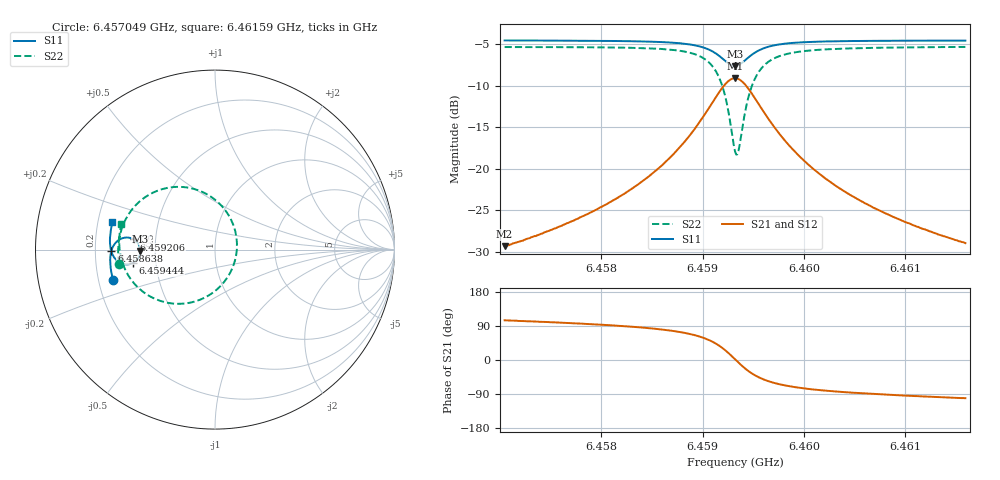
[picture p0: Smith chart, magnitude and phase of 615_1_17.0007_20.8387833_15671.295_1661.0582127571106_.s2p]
#  HZ  S  RI  R  50.00
! Rohde & Schwarz Vector Network Analyzer
! Rohde-Schwarz,ZNB20-2Port,1311601062101988,3.16
! Created: UTC 3/20/2024, 11:19:41 PM
! freq[Hz]  re:S11  im:S11  re:S21  im:S21  re:S12  im:S12  re:S22  im:S22
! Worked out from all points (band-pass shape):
!   401 points, 6.457049 GHz to 6.46159 GHz, reference 50 ohm
!   highest |S21| = -9.10 dB at 6.45932 GHz (marker M1); lowest = -29.3 dB at 6.457049 GHz (marker M2)
!   |S21| within 3 dB of the highest: 6.459093 GHz to 6.459547 GHz (453.9 kHz wide, 0.00703 % of centre)
!   lowest |S11| = -7.6 dB at 6.45932 GHz (marker M3), VSWR 2.42, Z = 20.6 - j0.385 ohm
!   |S11| at or under -10 dB: nowhere
!   |S22| runs from -18.3 to -5.3 dB; largest |S21 - S12| = 0.014
!   S11 on the Smith chart (normalised r, x): 6.457049 GHz: 0.26, -0.13; 6.458638 GHz: 0.27, -0.01; 6.459206 GHz: 0.38, +0.05; 6.459444 GHz: 0.37, -0.07; 6.46159 GHz: 0.26, +0.12
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6.4570486e9  -0.5683 -0.1668  -0.00872 0.0331  -0.00685 0.0329  -0.5349 -0.0781
6.4578094e9  -0.5816 -0.0998  -0.0053 0.0512  -0.00262 0.0505  -0.5388 0.012
6.4582181e9  -0.584 -0.0587  0.000776 0.07  0.00395 0.0688  -0.5304 0.0773
6.4585701e9  -0.5798 -0.0163  0.0152 0.1  0.0192 0.0971  -0.5032 0.1574
6.4586383e9  -0.5774 -0.00678  0.0207 0.1085  0.0247 0.1052  -0.4931 0.1775
6.4588426e9  -0.5634 0.0254  0.0501 0.1417  0.0543 0.1366  -0.4375 0.2517
6.4589789e9  -0.5414 0.0498  0.0937 0.1703  0.097 0.1634  -0.357 0.3116
6.4591151e9  -0.497 0.0672  0.1822 0.1866  0.183 0.1791  -0.1952 0.3495
6.459206e9  -0.452 0.0564  0.273 0.1545  0.2733 0.1487  -0.0265 0.2973
6.4592741e9  -0.4226 0.0239  0.3342 0.0814  0.3364 0.076  0.0901 0.1651
6.4593195e9  -0.4156 -0.00771  0.3506 0.0125  0.3544 0.00545  0.1223 0.0357
6.4593536e9  -0.4196 -0.0318  0.3445 -0.0409  0.3486 -0.0502  0.1101 -0.0655
6.459399e9  -0.4356 -0.0583  0.3151 -0.1016  0.3175 -0.1138  0.0508 -0.1804
6.4594444e9  -0.458 -0.0748  0.2722 -0.1431  0.2714 -0.1566  -0.0365 -0.2562
6.4595353e9  -0.502 -0.0819  0.1859 -0.1742  0.1796 -0.186  -0.2088 -0.3021
6.4596034e9  -0.5266 -0.0743  0.1367 -0.1719  0.1285 -0.1811  -0.3038 -0.286
6.4596829e9  -0.5464 -0.061  0.0968 -0.1595  0.0879 -0.1658  -0.3791 -0.2505
6.4598418e9  -0.5681 -0.0333  0.0512 -0.131  0.0435 -0.1338  -0.4601 -0.1767
6.4600803e9  -0.5808 0.0023  0.022 -0.0988  0.016 -0.0993  -0.5083 -0.0929
6.4604209e9  -0.5855 0.0432  0.00596 -0.0714  0.00185 -0.0708  -0.5295 -0.0131
6.460841e9  -0.5834 0.0857  -0.00157 -0.0526  -0.00476 -0.0517  -0.5335 0.0554
6.4615904e9  -0.5713 0.1522  -0.00669 -0.035  -0.0085 -0.0341  -0.5217 0.1448
